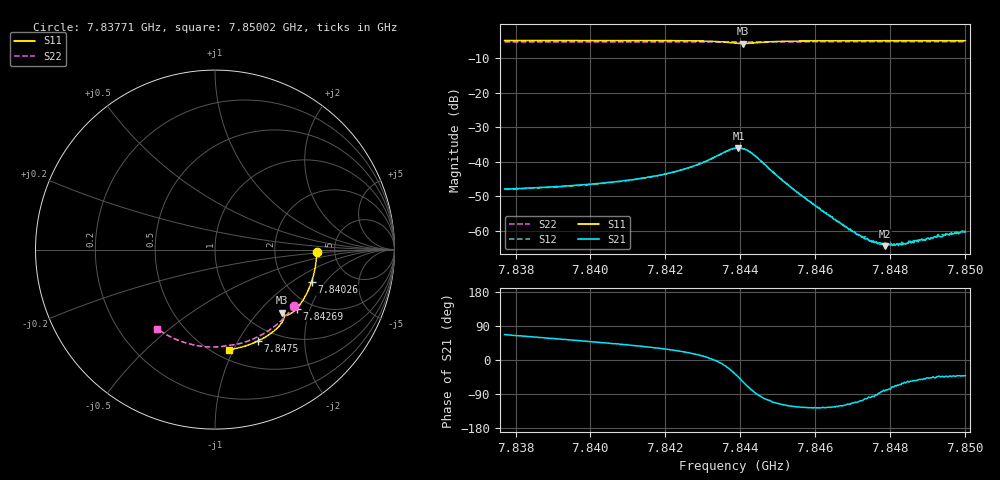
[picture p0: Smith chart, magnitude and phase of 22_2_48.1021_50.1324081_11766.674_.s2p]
#  HZ  S  RI  R  50.00
! Rohde & Schwarz Vector Network Analyzer
! Rohde-Schwarz,ZNB20-2Port,1311601062101988,3.16
! Created: UTC 12/23/2023, 3:36:45 AM
! freq[Hz]  re:S11  im:S11  re:S21  im:S21  re:S12  im:S12  re:S22  im:S22
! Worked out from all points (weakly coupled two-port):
!   401 points, 7.83771 GHz to 7.85002 GHz, reference 50 ohm
!   highest |S21| = -35.97 dB at 7.84396 GHz (marker M1); lowest = -64.4 dB at 7.84786 GHz (marker M2)
!   lowest |S11| = -5.8 dB at 7.84408 GHz (marker M3), VSWR 3.10, Z = 71.3 - j67.9 ohm
!   |S11| at or under -10 dB: nowhere
!   |S22| runs from -5.4 to -5.3 dB; largest |S21 - S12| = 0.00034
!   S11 on the Smith chart (normalised r, x): 7.83771 GHz: 3.61, -0.13; 7.84026 GHz: 2.76, -1.46; 7.84269 GHz: 1.69, -1.62; 7.8475 GHz: 0.82, -1.22; 7.85002 GHz: 0.59, -0.96
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7.837709e9  0.5666 -0.0124  0.00158 0.00372  0.00159 0.00365  0.4403 -0.3125
7.839771e9  0.5474 -0.1484  0.00296 0.00358  0.00291 0.00352  0.3426 -0.4184
7.840263e9  0.5378 -0.1802  0.00337 0.00354  0.00333 0.00351  0.3153 -0.4395
7.841833e9  0.4923 -0.2783  0.00548 0.00329  0.00542 0.00327  0.2201 -0.4948
7.842694e9  0.4548 -0.3291  0.00805 0.0026  0.008 0.00262  0.1633 -0.5162
7.843402e9  0.4086 -0.3628  0.0122 -0.000888  0.0123 -0.000944  0.1149 -0.5282
7.843864e9  0.3745 -0.3602  0.0126 -0.00936  0.0125 -0.00922  0.0841 -0.5326
7.843956e9  0.372 -0.3563  0.0112 -0.0112  0.0111 -0.0112  0.0782 -0.5332
7.844079e9  0.3725 -0.3515  0.0082 -0.0131  0.00833 -0.013  0.0704 -0.5343
7.844356e9  0.3825 -0.3549  0.00155 -0.0126  0.00156 -0.0127  0.0529 -0.5375
7.845156e9  0.3704 -0.4097  -0.00247 -0.0046  -0.00247 -0.00461  -0.00283 -0.5429
7.845926e9  0.3317 -0.4507  -0.00147 -0.00202  -0.00145 -0.00201  -0.0573 -0.5409
7.846941e9  0.2738 -0.4913  -0.000478 -0.000956  -0.000469 -0.000932  -0.1278 -0.5293
7.847495e9  0.2406 -0.5089  -0.000108 -0.000697  -0.000113 -0.0007  -0.1654 -0.519
7.84768e9  0.2291 -0.5142  8.68e-06 -0.000649  -1.13e-05 -0.000642  -0.1777 -0.5152
7.847864e9  0.2179 -0.5191  8.7e-05 -0.000596  9.86e-05 -0.000672  -0.1901 -0.5108
7.847987e9  0.2103 -0.5224  0.000153 -0.000624  0.00017 -0.000605  -0.1981 -0.5079
7.848418e9  0.1829 -0.5326  0.000323 -0.000568  0.00032 -0.000562  -0.226 -0.4963
7.848572e9  0.1733 -0.5358  0.000375 -0.000552  0.000385 -0.000575  -0.2359 -0.4918
7.849065e9  0.1416 -0.5449  0.000507 -0.000562  0.000516 -0.000577  -0.2667 -0.476
7.849342e9  0.1237 -0.5492  0.000594 -0.000573  0.000613 -0.000604  -0.2834 -0.4664
7.850019e9  0.0792 -0.5569  0.000725 -0.000642  0.000756 -0.000666  -0.3232 -0.4402
